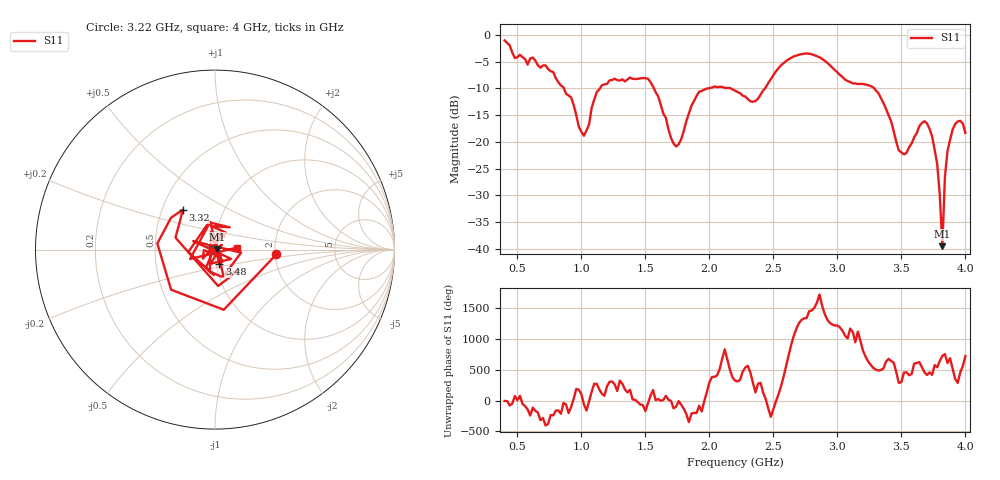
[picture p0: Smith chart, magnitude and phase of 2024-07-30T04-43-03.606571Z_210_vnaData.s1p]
!Created with skrf (http://scikit-rf.org).
# Hz S RI R 50.0
!freq ReS11 ImS11
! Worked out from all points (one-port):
!   181 points, 400 MHz to 4 GHz, reference 50 ohm
!   lowest |S11| = -39.5 dB at 3.82 GHz (marker M1), VSWR 1.02, Z = 51.1 + j0.176 ohm
!   |S11| at or under -10 dB: 862.9 MHz to 1.146 GHz (282.7 MHz wide, 28.1 % of centre); 1.566 GHz to 1.994 GHz (428.2 MHz wide, 24.1 % of centre); 3.287 GHz to end of sweep (the widest 3 of 4)
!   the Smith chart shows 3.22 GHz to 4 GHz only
!   S11 on the Smith chart (normalised r, x): 3.22 GHz: 2.03, -0.12; 3.32 GHz: 0.64, +0.31; 3.48 GHz: 1.04, -0.17; 4 GHz: 1.27, +0.03
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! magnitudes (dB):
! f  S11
! 400 MHz  -1.1
! 480 MHz  -4.3
! 860 MHz  -9.8
! 1.02 GHz  -18.9
! 1.12 GHz  -10.7
! 1.3 GHz  -8.6
! 1.52 GHz  -8.2
! 1.72 GHz  -20.3
! 1.76 GHz  -20.4
! 1.92 GHz  -10.6
! 2.2 GHz  -10.4
! 2.36 GHz  -12.4
! 2.66 GHz  -4.0
! 2.84 GHz  -4.0
! 3.1 GHz  -8.8
! 3.22 GHz  -9.3
! 3.32 GHz  -10.9
! 3.48 GHz  -21.6
! 3.56 GHz  -21.0
! 3.66 GHz  -16.5
! 3.72 GHz  -17.6
! 3.78 GHz  -24.2
! 3.8 GHz  -29.9
! 3.82 GHz  -39.5
! 3.84 GHz  -26.5
! 3.86 GHz  -21.7
! 3.94 GHz  -16.2
! 4 GHz  -18.3
